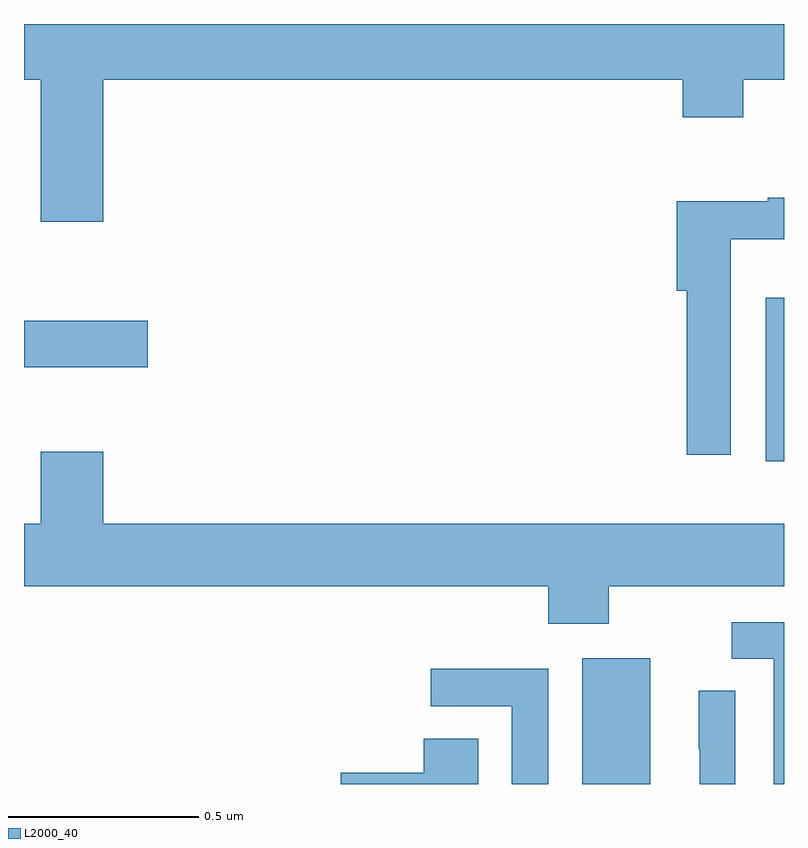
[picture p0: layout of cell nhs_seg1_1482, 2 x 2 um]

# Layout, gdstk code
import gdstk
lib = gdstk.Library(unit=1e-6, precision=1e-09)
def R(c, l, rs):  # rectangles x0, y0, x1, y1
    for r in rs: c.add(gdstk.rectangle(r[:2], r[2:], *l))
def P(c, l, *ps):  # polygons
    for p in ps: c.add(gdstk.Polygon(p, *l))
L2000_40 = (2000, 40)

nhs_seg1_1482 = lib.new_cell('nhs_seg1_1482')
R(nhs_seg1_1482, L2000_40, [(130.469,563.199,130.648,563.53), (130.952,564.048,131,564.478), (129,564.296,129.325,564.418)])
P(nhs_seg1_1482, L2000_40, [(129.208,565.052),(130.733,565.052),(130.733,564.953),(130.893,564.953),(130.893,565.052),(131,565.052),(131,565.199),(129,565.199),(129,565.052),(129.044,565.052),(129.044,564.678),(129.208,564.678)],
  [(130.86,564.632),(131,564.632),(131,564.742),(130.957,564.742),(130.957,564.732),(130.718,564.732),(130.718,564.497),(130.744,564.497),(130.744,564.066),(130.86,564.066)],
  [(130.539,563.72),(131,563.72),(131,563.884),(129.208,563.884),(129.208,564.073),(129.044,564.073),(129.044,563.884),(129,563.884),(129,563.72),(130.379,563.72),(130.379,563.621),(130.539,563.621)],
  [(131,563.625),(130.863,563.625),(130.863,563.529),(130.973,563.529),(130.973,563.199),(131,563.199)],
  [(130.38,563.502),(130.071,563.502),(130.071,563.403),(130.284,563.403),(130.284,563.199),(130.38,563.199)],
  [(130.872,563.444),(130.776,563.444),(130.776,563.29),(130.778,563.29),(130.778,563.199),(130.872,563.199)],
  [(130.195,563.318),(130.052,563.318),(130.052,563.228),(129.834,563.228),(129.834,563.199),(130.195,563.199)])

lib.write_gds('nhs_seg1_1482.gds')
